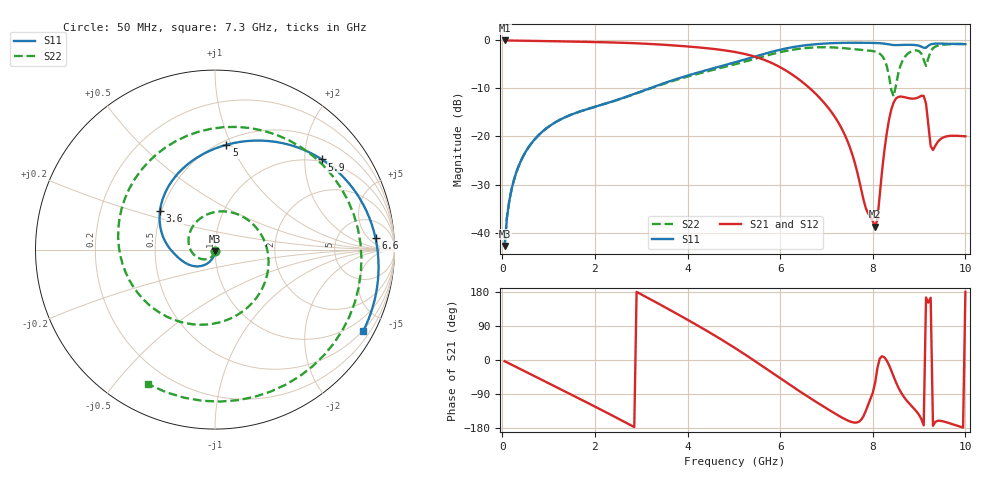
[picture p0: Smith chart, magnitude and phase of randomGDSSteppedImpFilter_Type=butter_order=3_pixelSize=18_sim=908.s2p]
! freq	dB(S11)	phase(S11)	dB(S12)	phase(S12)
!  dB(S21)	phase(S21)	dB(S22)	phase(S22)
!S-par simulation data
#  GHz  S  DB  R 50
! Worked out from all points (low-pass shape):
!   200 points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, 50 MHz to 10 GHz, reference 50 ohm
!   highest |S21| = -0.01 dB at 50 MHz (marker M1); lowest = -38.8 dB at 8.05 GHz (marker M2)
!   |S21| within 3 dB of the highest: start of sweep to 5.314 GHz
!   lowest |S11| = -42.8 dB at 50 MHz (marker M3), VSWR 1.01, Z = 50 - j0.726 ohm
!   |S11| at or under -10 dB: start of sweep to 3.172 GHz
!   |S22| runs from -42.8 to -0.7 dB; largest |S21 - S12| = 0
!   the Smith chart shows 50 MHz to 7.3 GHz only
!   S11 on the Smith chart (normalised r, x): 50 MHz: 1.00, -0.01; 3.6 GHz: 0.49, +0.24; 5 GHz: 0.54, +0.96; 5.9 GHz: 0.94, +2.42; 6.6 GHz: 13, +8; 7.3 GHz: 0.47, -3.82
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0.05  -42.79 -89.3  -0.01 -3.1  -0.01 -3.1  -42.84 -92.7
0.5  -23.26 -112.1  -0.06 -30.7  -0.06 -30.7  -23.28 -129.7
1.75  -14.56 -158.5  -0.29 -107.3  -0.29 -107.3  -14.56 122.3
2.6  -11.99 178.8  -0.49 -160.9  -0.49 -160.9  -12.03 38.2
3.4  -9.21 152.9  -0.85 146.8  -0.85 146.8  -9.33 -40.1
3.6  -8.54 145.1  -0.97 133.4  -0.97 133.4  -8.69 -59.0
4.3  -6.48 115.2  -1.51 85.3  -1.51 85.3  -6.75 -125.4
5  -4.62 83.7  -2.36 33.5  -2.36 33.5  -5.04 161.8
5.05  -4.48 81.5  -2.45 29.6  -2.45 29.6  -4.91 156.2
5.9  -2.16 40.1  -5.08 -39.9  -5.08 -39.9  -2.67 55.7
6.6  -0.95 4.0  -9.62 -96.9  -9.62 -96.9  -1.55 -26.6
6.7  -0.85 -1.0  -10.49 -104.7  -10.49 -104.7  -1.48 -38.3
7.3  -0.51 -28.9  -17.83 -149.5  -17.83 -149.5  -1.55 -116.4
7.7  -0.48 -45.8  -28.85 -163.0  -28.85 -163.0  -1.93 170.6
8.05  -0.54 -59.6  -38.77 -60.8  -38.77 -60.8  -2.32 81.2
8.2  -0.62 -65.5  -27.23 10.0  -27.23 10.0  -3.21 31.1
8.35  -0.82 -70.9  -16.54 -13.3  -16.54 -13.3  -7.39 -45.0
8.5  -0.98 -74.7  -12.11 -58.6  -12.11 -58.6  -9.39 153.0
8.7  -0.91 -80.4  -11.86 -102.0  -11.86 -102.0  -3.32 62.6
9.1  -1.52 -92.3  -11.55 -172.4  -11.55 -172.4  -4.04 -9.8
9.35  -0.67 -97.7  -21.95 -163.6  -21.95 -163.6  -1.29 -12.2
10  -0.79 -119.5  -19.96 179.9  -19.96 179.9  -0.71 -59.1
